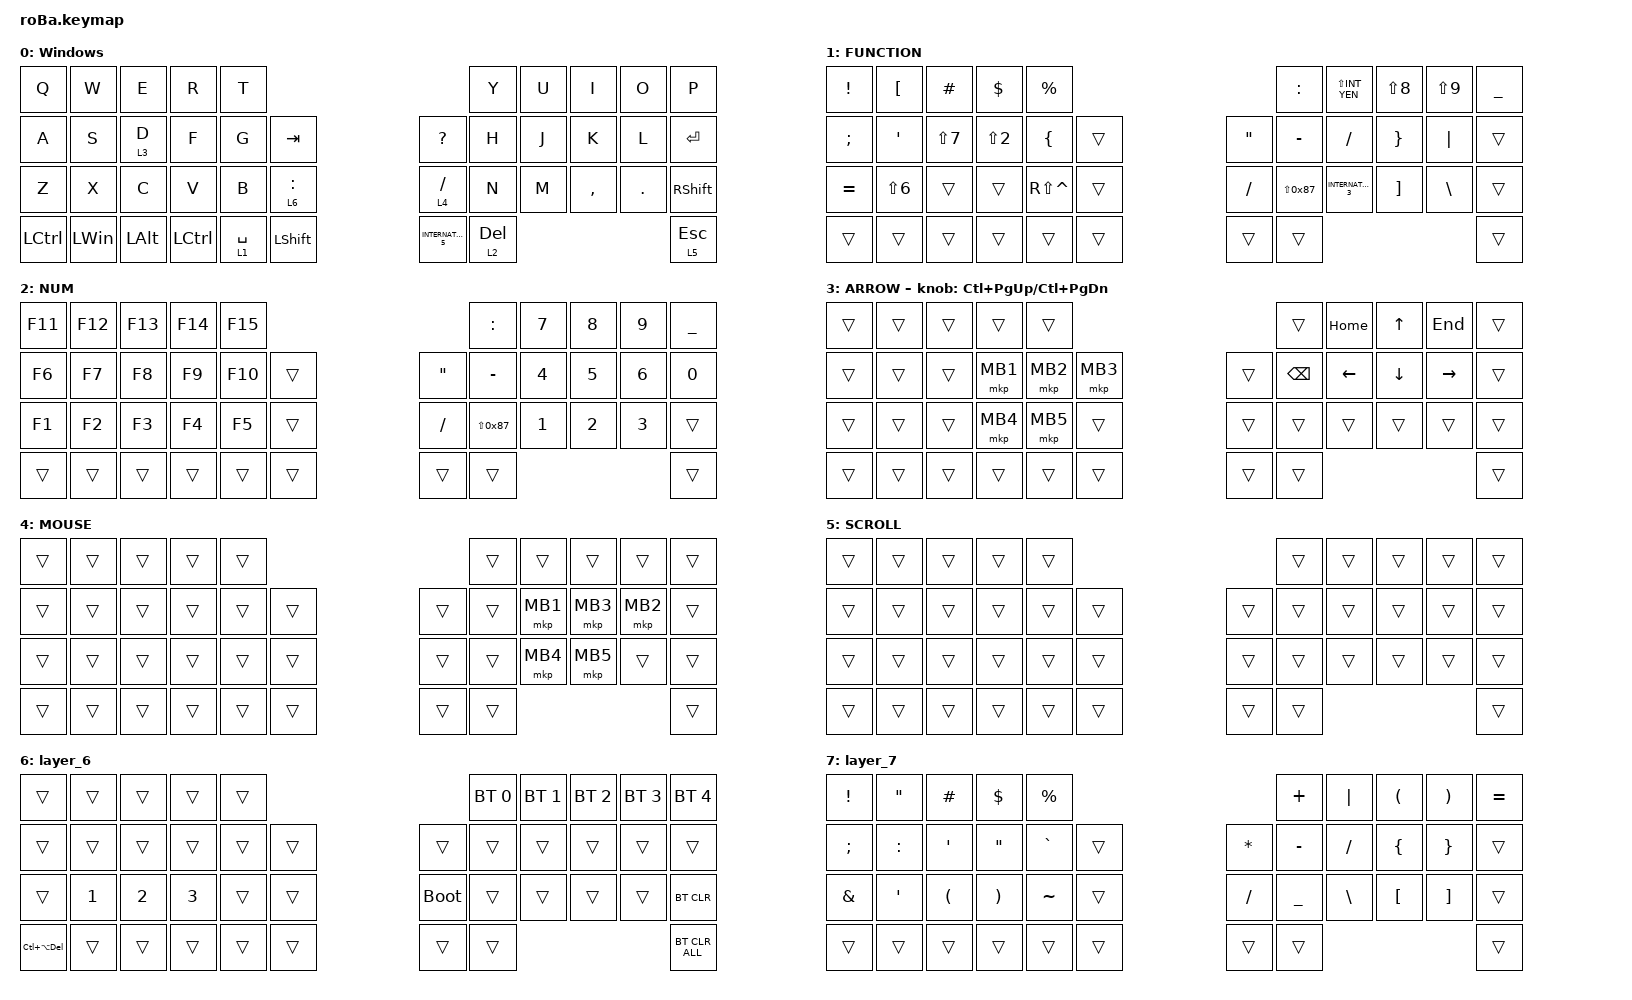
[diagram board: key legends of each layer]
#include <behaviors.dtsi>
#include <dt-bindings/zmk/bt.h>
#include <dt-bindings/zmk/keys.h>
#include <dt-bindings/zmk/pointing.h>

// OS設定を日本語キーボードのまま使用するための変換定義

#define JP_DQUOTE       AT                // "
#define JP_AMPERSAND    CARET             // &
#define JP_QUOTE        AMPERSAND         // '
#define JP_EQUAL        UNDER             // =
#define JP_CARET        EQUAL             // ^
#define JP_YEN          0x89              // ¥
#define JP_PLUS         COLON             // +
#define JP_TILDE        PLUS              // ~
#define JP_PIPE         LS(0x89)          // |
#define JP_AT           LEFT_BRACKET      // @
#define JP_COLON        SINGLE_QUOTE      // :
#define JP_ASTERISK     DOUBLE_QUOTES     // *
#define JP_BACKQUOTE    LEFT_BRACE        // `
#define JP_UNDERSCORE   LS(0x87)          // _
#define JP_LBRACKET     RIGHT_BRACKET     // [
#define JP_RBRACKET     BACKSLASH         // ]
#define JP_LPAREN       ASTERISK          // (
#define JP_RPAREN       LEFT_PARENTHESIS  // )
#define JP_LBRACE       RIGHT_BRACE       // {
#define JP_RBRACE       PIPE              // }
#define JP_KANA         LANGUAGE_1        // かな
#define JP_EISU         LANGUAGE_2        // 英数
#define JP_HANZEN       GRAVE             // 半角/全角

&mt {
    flavor = "balanced";
    quick-tap-ms = <0>;
};

&trackball {
    automouse-layer = <4>;
    scroll-layers = <5>;

    // arrows {
    //     layers = <3>;
    //     bindings =
    //         <&kp RIGHT_ARROW>,
    //         <&kp LEFT_ARROW>,
    //         <&kp UP_ARROW>,
    //         <&kp DOWN_ARROW>;
    //     tick = <10>;
    //     wait-ms = <5>;
    //     tap-ms = <5>;
    // };
};

/ {
    combos {
        compatible = "zmk,combos";

        tab {
            bindings = <&kp TAB>;
            key-positions = <11 12>;
        };

        shift_tab {
            bindings = <&kp LS(TAB)>;
            key-positions = <12 13>;
        };

        muhennkann {
            bindings = <&to_layer_0 INT_MUHENKAN>;
            key-positions = <11 10>;
        };

        double_quotation {
            bindings = <&kp DOUBLE_QUOTES>;
            key-positions = <20 21>;
        };

        eq {
            bindings = <&kp EQUAL>;
            key-positions = <24 25>;
        };
    };

    macros {
        to_layer_0: to_layer_0 {
            compatible = "zmk,behavior-macro-one-param";
            #binding-cells = <1>;
            bindings = <&to 0 &macro_param_1to1 &kp MACRO_PLACEHOLDER>;
            label = "TO_LAYER_0";
        };
    };

    behaviors {
        lt_to_layer_0: lt_to_layer_0 {
            compatible = "zmk,behavior-hold-tap";
            label = "LAYER_TAP_TO_0";
            bindings = <&mo>, <&to_layer_0>;

            #binding-cells = <2>;
            tapping-term-ms = <200>;
        };
    };

    keymap {
        compatible = "zmk,keymap";

        Windows {
            bindings = <
&kp Q      &kp W         &kp E         &kp R      &kp T                                                                    &kp Y      &kp U  &kp I      &kp O    &kp P
&kp A      &kp S         &lt 3 D       &kp F      &kp G                   &kp TAB                     &kp QUESTION         &kp H      &kp J  &kp K      &kp L    &kp ENTER
&kp Z      &kp X         &kp C         &kp V      &kp B                   &lt_to_layer_0 6 COLON      &lt 4 SLASH          &kp N      &kp M  &kp COMMA  &kp DOT  &kp RIGHT_SHIFT
&kp LCTRL  &kp LEFT_WIN  &kp LEFT_ALT  &kp LCTRL  &lt_to_layer_0 1 SPACE  &kp LSHFT                   &kp INTERNATIONAL_5  &lt 2 DEL                             &lt 5 ESC
            >;
        };

        FUNCTION {
            bindings = <
&kp EXCLAMATION  &kp LEFT_BRACKET  &kp HASH    &kp DOLLAR        &kp PERCENT                                  &kp COLON          &kp LS(INT_YEN)      &kp LS(N8)       &kp LS(N9)       &kp JP_EQUAL
&kp SEMICOLON    &kp SINGLE_QUOTE  &kp LS(N7)  &kp LS(NUMBER_2)  &kp LEFT_BRACE  &trans      &kp JP_ASTERISK  &kp MINUS          &kp SLASH            &kp JP_LBRACE    &kp JP_RBRACE    &trans
&kp EQUAL        &kp LS(NUMBER_6)  &trans      &trans            &kp RS(CARET)   &trans      &kp SLASH        &kp JP_UNDERSCORE  &kp INTERNATIONAL_3  &kp JP_LBRACKET  &kp JP_RBRACKET  &trans
&trans           &trans            &trans      &trans            &trans          &trans      &trans           &trans                                                                    &trans
            >;
        };

        NUM {
            bindings = <
&kp F11  &kp F12  &kp F13  &kp F14  &kp F15                               &kp COLON          &kp N7        &kp N8        &kp N9        &kp JP_EQUAL
&kp F6   &kp F7   &kp F8   &kp F9   &kp F10  &trans      &kp JP_ASTERISK  &kp MINUS          &kp NUMBER_4  &kp N5        &kp NUMBER_6  &kp N0
&kp F1   &kp F2   &kp F3   &kp F4   &kp F5   &trans      &kp SLASH        &kp JP_UNDERSCORE  &kp NUMBER_1  &kp NUMBER_2  &kp NUMBER_3  &trans
&trans   &trans   &trans   &trans   &trans   &trans      &trans           &trans                                                       &trans
            >;
        };

        ARROW {
            bindings = <
&trans  &trans  &trans  &trans    &trans                          &trans         &kp HOME  &kp UP_ARROW  &kp END    &trans
&trans  &trans  &trans  &mkp MB1  &mkp MB2  &mkp MB3      &trans  &kp BACKSPACE  &kp LEFT  &kp DOWN      &kp RIGHT  &trans
&trans  &trans  &trans  &mkp MB4  &mkp MB5  &trans        &trans  &trans         &trans    &trans        &trans     &trans
&trans  &trans  &trans  &trans    &trans    &trans        &trans  &trans                                            &trans
            >;

            sensor-bindings = <&inc_dec_kp LC(PAGE_UP) LC(PAGE_DOWN)>;
        };

        MOUSE {
            bindings = <
&trans  &trans  &trans  &trans  &trans                      &trans  &trans    &trans    &trans    &trans
&trans  &trans  &trans  &trans  &trans  &trans      &trans  &trans  &mkp MB1  &mkp MB3  &mkp MB2  &trans
&trans  &trans  &trans  &trans  &trans  &trans      &trans  &trans  &mkp MB4  &mkp MB5  &trans    &trans
&trans  &trans  &trans  &trans  &trans  &trans      &trans  &trans                                &trans
            >;
        };

        SCROLL {
            bindings = <
&trans  &trans  &trans  &trans  &trans                      &trans  &trans  &trans  &trans  &trans
&trans  &trans  &trans  &trans  &trans  &trans      &trans  &trans  &trans  &trans  &trans  &trans
&trans  &trans  &trans  &trans  &trans  &trans      &trans  &trans  &trans  &trans  &trans  &trans
&trans  &trans  &trans  &trans  &trans  &trans      &trans  &trans                          &trans
            >;
        };

        layer_6 {
            bindings = <
&trans           &trans        &trans        &trans        &trans                           &bt BT_SEL 0  &bt BT_SEL 1  &bt BT_SEL 2  &bt BT_SEL 3  &bt BT_SEL 4
&trans           &trans        &trans        &trans        &trans  &trans      &trans       &trans        &trans        &trans        &trans        &trans
&trans           &kp NUMBER_1  &kp NUMBER_2  &kp NUMBER_3  &trans  &trans      &bootloader  &trans        &trans        &trans        &trans        &bt BT_CLR
&kp LC(LA(DEL))  &trans        &trans        &trans        &trans  &trans      &trans       &trans                                                  &bt BT_CLR_ALL
            >;
        };

        layer_7 {
            bindings = <
&kp EXCLAMATION  &kp DOUBLE_QUOTES  &kp HASH              &kp DOLLAR             &kp PERCENT                         &kp PLUS        &kp PIPE       &kp LEFT_PARENTHESIS  &kp RIGHT_PARENTHESIS  &kp EQUAL
&kp SEMICOLON    &kp COLON          &kp SINGLE_QUOTE      &kp DOUBLE_QUOTES      &kp GRAVE    &trans      &kp ASTRK  &kp MINUS       &kp SLASH      &kp LEFT_BRACE        &kp RIGHT_BRACE        &trans
&kp AMPERSAND    &kp SINGLE_QUOTE   &kp LEFT_PARENTHESIS  &kp RIGHT_PARENTHESIS  &kp TILDE    &trans      &kp SLASH  &kp UNDERSCORE  &kp BACKSLASH  &kp LEFT_BRACKET      &kp RIGHT_BRACKET      &trans
&trans           &trans             &trans                &trans                 &trans       &trans      &trans     &trans                                                                      &trans
            >;
        };
    };
};
